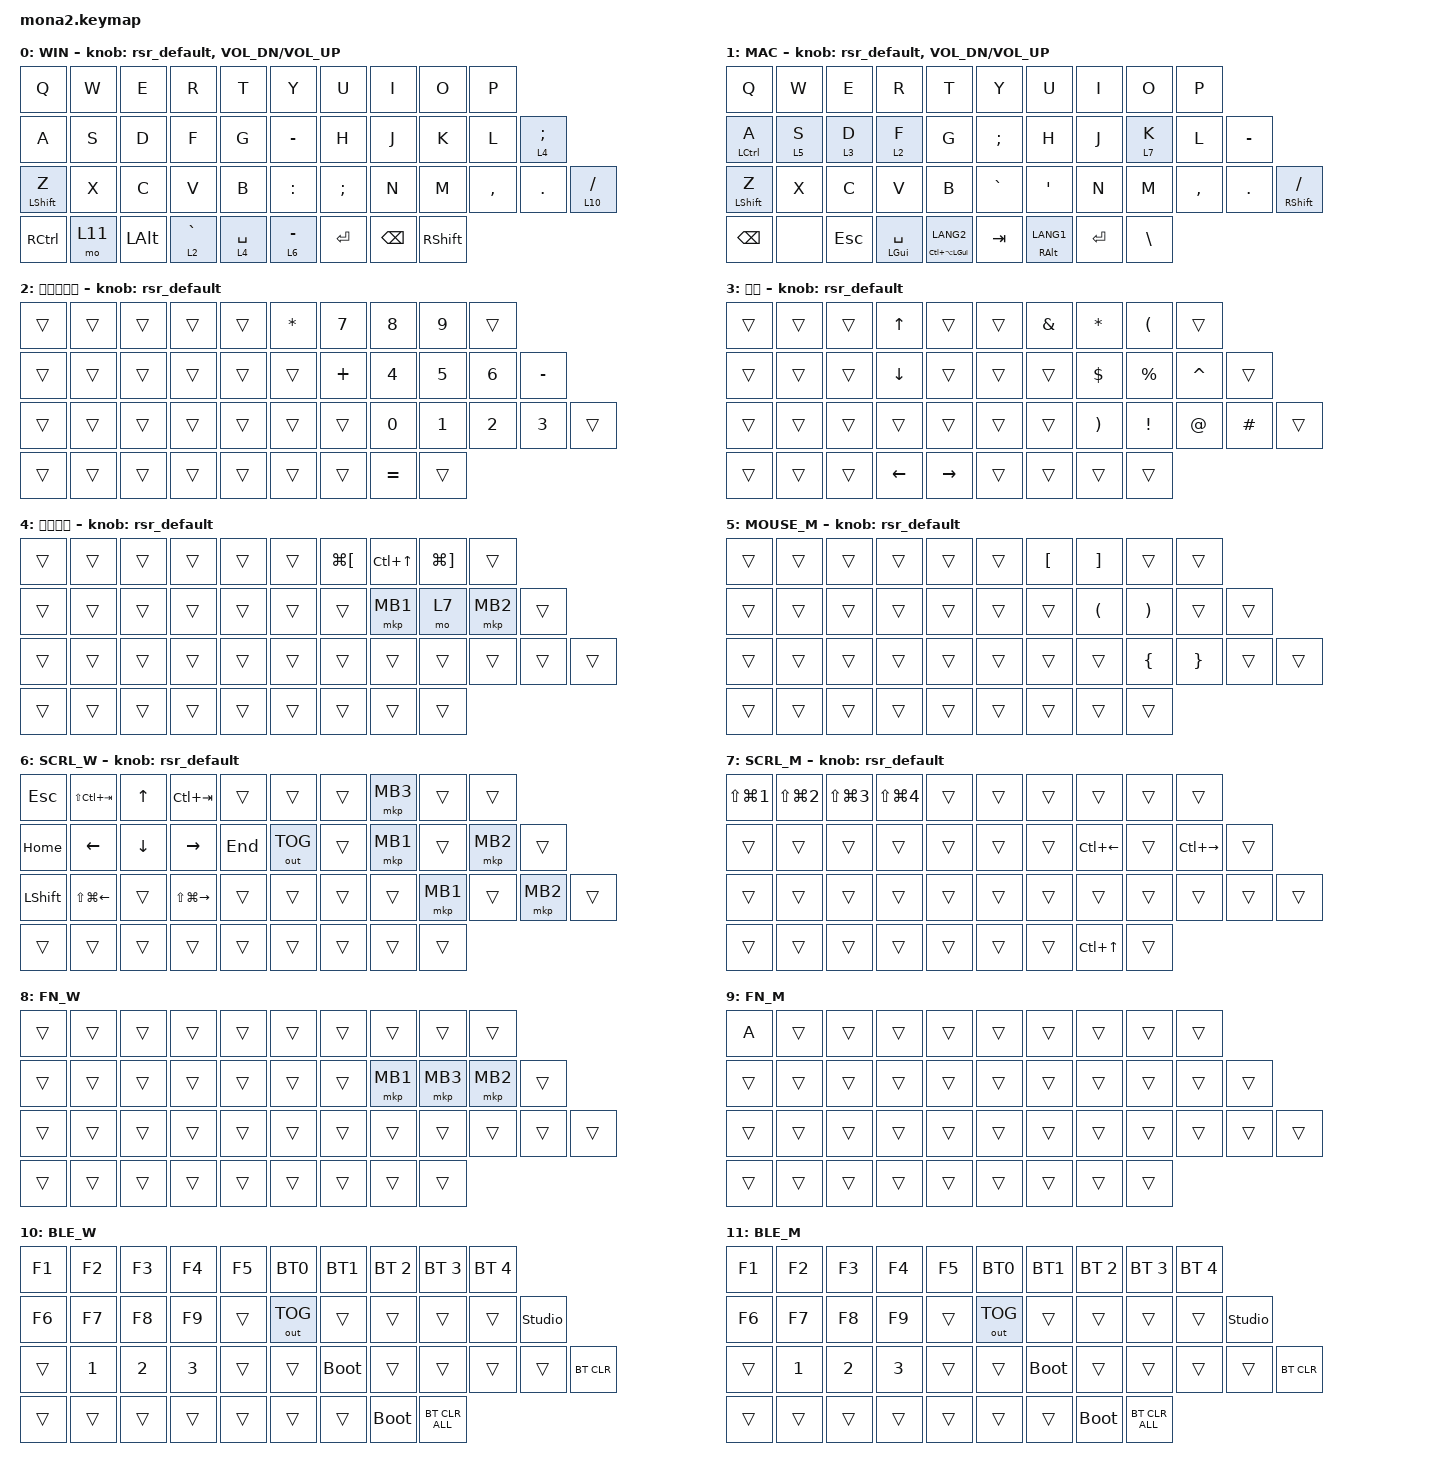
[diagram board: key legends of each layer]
#include <input/processors.dtsi>
#include <dt-bindings/zmk/input_transform.h>
#include <zephyr/dt-bindings/input/input-event-codes.h>
#include <behaviors/runtime-sensor-rotate.dtsi>
#include <behaviors.dtsi>
/* DYA Studio から作成したマクロを呼び出す `&rmacro <slot>` を定義する。
   slot は 0 〜 CONFIG_ZMK_RUNTIME_MACRO_COUNT-1 (現状 0〜7)。
   どのマクロがどのスロットに入っているかは DYA Studio のマクロ一覧で確認する。
   キーへの割り当ては DYA Studio のキーマップエディタからも行える。 */
#include <behaviors/runtime_macro.dtsi>
/* デフォルトレイヤー変更 behavior `&df`。
   DYA Studio の「OSごとのデフォルトレイヤー」から設定できるほか、
   キーマップエディタで `&df DF_SEL <layer>` / `&df DF_INC` を
   任意のキーに割り当てられる。 */
#include <behaviors/default_layer.dtsi>
#include <dt-bindings/zmk_behavior_default_layer/default_layer.h>
#include <dt-bindings/zmk/bt.h>
#include <dt-bindings/zmk/keys.h>
#include <dt-bindings/zmk/outputs.h>
#include <dt-bindings/zmk/pointing.h>

/* ZMK 側で 10 が定義済みなので警告回避のため一旦 undef */

#undef ZMK_POINTING_DEFAULT_SCRL_VAL

#define ZMK_POINTING_DEFAULT_SCRL_VAL 100


/ {
    behaviors {
        mg_set_0: behavior_mg_set_0 {
            compatible = "zmk,behavior-mg-set-fixed";
            #binding-cells = <0>;
            display-name = "Mouse Gesture Key 0";
        };

        mg_set_1: behavior_mg_set_1 {
            compatible = "zmk,behavior-mg-set-fixed";
            #binding-cells = <0>;
            display-name = "Mouse Gesture Key 1";
        };

        mg_set_2: behavior_mg_set_2 {
            compatible = "zmk,behavior-mg-set-fixed";
            #binding-cells = <0>;
            display-name = "Mouse Gesture Key 2";
        };
    };
};

&mt {
    flavor = "balanced";
    quick-tap-ms = <0>;
};

&lt {
    quick-tap-ms = <200>;
    flavor = "tap-preferred";
    tapping-term-ms = <300>;
    require-prior-idle-ms = <150>;
};

&msc {
    delay-ms = <0>;
    time-to-max-speed-ms = <0>;
    acceleration-exponent = <0>;
};

/ {
    /* ─────────────────────────────────────────────────────────────
       コンボ (DYA Studio から編集可能)

       旧 `combos { compatible = "zmk,combos"; }` はコンパイル時固定で
       DYA Studio から編集できないため、zmk-feature-runtime-combo の
       「コンパイル時デフォルト」ノードへ移行した。
       ここに書いた内容はフラッシュ直後から有効で、設定を消しても復活する。
       DYA Studio 側で編集するとそのスロットだけ上書きされ、
       Web UI の "Reset to Default" でここの値へ戻せる。

       スロット総数は CONFIG_ZMK_RUNTIME_COMBO_MAX_COMBOS (現状 16)。
       未使用スロット (2〜15) は DYA Studio から自由に追加できる。
       ────────────────────────────────────────────────────────── */
    runtime_combo_defaults {
        compatible = "cormoran,runtime-combo-defaults";

        layer4_ESC {
            slot = <0>;
            display-name = "Layer4 ESC";
            key-positions = <38 39>;
            bindings = <&lt 4 ESC>;
        };

        tab {
            slot = <1>;
            display-name = "Tab";
            key-positions = <11 12>;
            bindings = <&kp TAB>;
        };
    };

    /* 静的マクロ。キーマップ上で &BT0 / &screenshot などの名前で直接
       参照しているため、そのまま残している (DYA Studio 上では編集不可)。
       DYA Studio から編集したいマクロは Web UI で新規作成し、
       キーに `&rmacro <slot>` を割り当てて使う。 */
    macros {
        to_layer_0: to_layer_0 {
            compatible = "zmk,behavior-macro-one-param";
            #binding-cells = <1>;
            bindings = <&to 0 &macro_param_1to1 &kp MACRO_PLACEHOLDER>;
            label = "TO_LAYER_0";
        };

        BT0: BT0 {
            compatible = "zmk,behavior-macro";
            #binding-cells = <0>;
            bindings =
                <&tog_off 0 &tog_off 1>,
                <&macro_wait_time 200>,
                <&bt BT_SEL 0>,
                <&macro_wait_time 500>,
                <&tog_on 0>;

            label = "BT0";
        };

        BT1: BT1 {
            compatible = "zmk,behavior-macro";
            #binding-cells = <0>;
            bindings =
                <&tog_off 0 &tog_off 1>,
                <&macro_wait_time 200>,
                <&bt BT_SEL 1>,
                <&macro_wait_time 500>,
                <&tog_on 1>;

            label = "BT1";
        };

        screenshot: screenshot {
            compatible = "zmk,behavior-macro";
            #binding-cells = <0>;
            bindings =
                <&macro_press>,
                <&kp LEFT_GUI &kp RSHIFT>,
                <&macro_wait_time 20>,
                <&macro_tap>,
                <&kp S>,
                <&macro_release>,
                <&kp LEFT_GUI &kp RSHIFT>;

            label = "SCREENSHOT";
        };

        henkan: henkan {
            compatible = "zmk,behavior-macro";
            #binding-cells = <0>;
            bindings =
                <&macro_press>,
                <&kp LEFT_ALT>,
                <&macro_wait_time 20>,
                <&macro_tap>,
                <&kp GRAVE>,
                <&macro_release>,
                <&kp LEFT_ALT>;

            label = "HENKAN";
        };
    };

    behaviors {
        lt_to_layer_0: lt_to_layer_0 {
            compatible = "zmk,behavior-hold-tap";
            label = "LAYER_TAP_TO_0";
            bindings = <&mo>, <&to_layer_0>;

            #binding-cells = <2>;
            tapping-term-ms = <200>;
        };

        tp_repeat_mo1: tp_repeat_mo1 {
            compatible = "zmk,behavior-hold-tap";
            label = "TP_REPEAT_MO1";
            bindings = <&mo>, <&key_repeat>;

            #binding-cells = <2>;
            tapping-term-ms = <200>;
        };

        // エンコーダ用 runtime-configurable sensor rotate
        // デフォルトはスクロール (cw=SCRL_DOWN, ccw=SCRL_UP)
        // DYA Studio Web UI から レイヤーごとに cw/ccw の binding を
        // kp C_VOL_UP/DN や kp LEFT/RIGHT などへ動的変更可能

        rsr_default: rsr_default {
            compatible = "zmk,behavior-runtime-sensor-rotate";
            #sensor-binding-cells = <0>;
            tap-ms = <16>;
            cw-binding = <&msc SCRL_DOWN>;
            ccw-binding = <&msc SCRL_UP>;
        };

        tog_on: toggle_layer_on_only {
            compatible = "zmk,behavior-toggle-layer";
            #binding-cells = <1>;
            display-name = "Toggle Layer On";
            toggle-mode = "on";
        };

        tog_off: toggle_layer_off_only {
            compatible = "zmk,behavior-toggle-layer";
            #binding-cells = <1>;
            display-name = "Toggle Layer Off";
            toggle-mode = "off";
        };

        zfold: zfold {
            compatible = "zmk,behavior-hold-tap";
            label = "ZFOLD";
            bindings = <&kp>, <&kp>;

            #binding-cells = <2>;
            tapping-term-ms = <300>;
            flavor = "hold-preferred";
            quick-tap-ms = <150>;
            hold-while-undecided;
        };

        zfoldZ: zfoldZ {
            compatible = "zmk,behavior-tap-dance";
            label = "ZFOLDZ";
            #binding-cells = <0>;
            bindings = <&zfold LEFT_SHIFT Z>, <&kp LS(Z)>;
        };
    };

    keymap {
        compatible = "zmk,keymap";

        win_layer {
            display-name = "WIN";
            bindings = <
&kp Q             &kp W             &kp E             &kp R             &kp T             &kp Y             &kp U             &kp I             &kp O             &kp P
&kp A             &kp S             &kp D             &kp F             &kp G             &kp MINUS         &kp H             &kp J             &kp K             &kp L             &lt 4 SEMICOLON
&mt LEFT_SHIFT Z  &kp X             &kp C             &kp V             &kp B             &kp COLON         &kp SEMICOLON     &kp N             &kp M             &kp COMMA         &kp PERIOD        &lt 10 SLASH
&kp RIGHT_CONTROL &mo 11            &kp LEFT_ALT      &lt 2 GRAVE       &lt 4 SPACE       &lt 6 MINUS       &kp RETURN        &kp BACKSPACE     &kp RIGHT_SHIFT
            >;

            sensor-bindings = <&rsr_default>, <&inc_dec_kp C_VOL_DN C_VOL_UP>;
        };

        mac_layer {
            display-name = "MAC";
            bindings = <
&kp Q                      &kp W                      &kp E                      &kp R                      &kp T                      &kp Y                      &kp U                      &kp I                      &kp O                      &kp P
&mt LEFT_CONTROL A         &lt 5 S                    &lt 3 D                    &lt 2 F                    &kp G                      &kp SEMICOLON              &kp H                      &kp J                      &lt 7 K                    &kp L                      &kp MINUS
&mt LEFT_SHIFT Z           &kp X                      &kp C                      &kp V                      &kp B                      &kp GRAVE                  &kp SQT                    &kp N                      &kp M                      &kp COMMA                  &kp PERIOD                 &mt RIGHT_SHIFT SLASH
&kp BACKSPACE              &none                      &kp ESCAPE                 &mt LEFT_GUI SPACE         &mt LC(LA(LEFT_GUI)) LANG2 &kp TAB                    &mt RIGHT_ALT LANG1        &kp RETURN                 &kp BACKSLASH
            >;

            sensor-bindings = <&rsr_default>, <&inc_dec_kp C_VOL_DN C_VOL_UP>;
        };

        num_sym {
            display-name = "数字・記号";
            bindings = <
&trans       &trans       &trans       &trans       &trans       &kp ASTERISK &kp N7       &kp N8       &kp N9       &trans
&trans       &trans       &trans       &trans       &trans       &trans       &kp PLUS     &kp N4       &kp N5       &kp N6       &kp MINUS
&trans       &trans       &trans       &trans       &trans       &trans       &trans       &kp N0       &kp N1       &kp N2       &kp N3       &trans
&trans       &trans       &trans       &trans       &trans       &trans       &trans       &kp EQUAL    &trans
            >;

            sensor-bindings = <&rsr_default>;
        };

        sym {
            display-name = "記号";
            bindings = <
&trans                &trans                &trans                &kp UP                &trans                &trans                &kp AMPERSAND         &kp ASTERISK          &kp LEFT_PARENTHESIS  &trans
&trans                &trans                &trans                &kp DOWN              &trans                &trans                &trans                &kp DOLLAR            &kp PERCENT           &kp CARET             &trans
&trans                &trans                &trans                &trans                &trans                &trans                &trans                &kp RIGHT_PARENTHESIS &kp EXCLAMATION       &kp AT_SIGN           &kp HASH              &trans
&trans                &trans                &trans                &kp LEFT              &kp RIGHT             &trans                &trans                &trans                &trans
            >;

            sensor-bindings = <&rsr_default>;
        };

        click {
            display-name = "クリック";
            bindings = <
&trans                &trans                &trans                &trans                &trans                &trans                &kp LG(LEFT_BRACKET)  &kp LC(UP)            &kp LG(RIGHT_BRACKET) &trans
&trans                &trans                &trans                &trans                &trans                &trans                &trans                &mkp MB1              &mo 7                 &mkp MB2              &trans
&trans                &trans                &trans                &trans                &trans                &trans                &trans                &trans                &trans                &trans                &trans                &trans
&trans                &trans                &trans                &trans                &trans                &trans                &trans                &trans                &trans
            >;

            sensor-bindings = <&rsr_default>;
        };

        mouse_mac {
            display-name = "MOUSE_M";
            bindings = <
&trans                &trans                &trans                &trans                &trans                &trans                &kp LEFT_BRACKET      &kp RIGHT_BRACKET     &trans                &trans
&trans                &trans                &trans                &trans                &trans                &trans                &trans                &kp LEFT_PARENTHESIS  &kp RIGHT_PARENTHESIS &trans                &trans
&trans                &trans                &trans                &trans                &trans                &trans                &trans                &trans                &kp LEFT_BRACE        &kp RIGHT_BRACE       &trans                &trans
&trans                &trans                &trans                &trans                &trans                &trans                &trans                &trans                &trans
            >;

            sensor-bindings = <&rsr_default>;
        };

        scroll_win {
            display-name = "SCRL_W";
            bindings = <
&kp ESCAPE         &kp LS(LC(TAB))    &kp UP             &kp LC(TAB)        &trans             &trans             &trans             &mkp MB3           &trans             &trans
&kp HOME           &kp LEFT           &kp DOWN           &kp RIGHT          &kp END            &out OUT_TOG       &trans             &mkp MB1           &trans             &mkp MB2           &trans
&kp LEFT_SHIFT     &kp LS(LG(LEFT))   &trans             &kp LS(LG(RIGHT))  &trans             &trans             &trans             &trans             &mkp MB1           &trans             &mkp MB2           &trans
&trans             &trans             &trans             &trans             &trans             &trans             &trans             &trans             &trans
            >;

            sensor-bindings = <&rsr_default>;
        };

        scroll_mac {
            display-name = "SCRL_M";
            bindings = <
&kp LS(LG(N1))  &kp LS(LG(N2))  &kp LS(LG(N3))  &kp LS(LG(N4))  &trans          &trans          &trans          &trans          &trans          &trans
&trans          &trans          &trans          &trans          &trans          &trans          &trans          &kp LC(LEFT)    &trans          &kp LC(RIGHT)   &trans
&trans          &trans          &trans          &trans          &trans          &trans          &trans          &trans          &trans          &trans          &trans          &trans
&trans          &trans          &trans          &trans          &trans          &trans          &trans          &kp LC(UP)      &trans
            >;

            sensor-bindings = <&rsr_default>;
        };

        function_win {
            display-name = "FN_W";
            bindings = <
&trans    &trans    &trans    &trans    &trans    &trans    &trans    &trans    &trans    &trans
&trans    &trans    &trans    &trans    &trans    &trans    &trans    &mkp MB1  &mkp MB3  &mkp MB2  &trans
&trans    &trans    &trans    &trans    &trans    &trans    &trans    &trans    &trans    &trans    &trans    &trans
&trans    &trans    &trans    &trans    &trans    &trans    &trans    &trans    &trans
            >;
        };

        function_mac {
            display-name = "FN_M";
            bindings = <
&kp A   &trans  &trans  &trans  &trans  &trans  &trans  &trans  &trans  &trans
&trans  &trans  &trans  &trans  &trans  &trans  &trans  &trans  &trans  &trans  &trans
&trans  &trans  &trans  &trans  &trans  &trans  &trans  &trans  &trans  &trans  &trans  &trans
&trans  &trans  &trans  &trans  &trans  &trans  &trans  &trans  &trans
            >;
        };

        ble_win {
            display-name = "BLE_W";
            bindings = <
&kp F1          &kp F2          &kp F3          &kp F4          &kp F5          &BT0            &BT1            &bt BT_SEL 2    &bt BT_SEL 3    &bt BT_SEL 4
&kp F6          &kp F7          &kp F8          &kp F9          &trans          &out OUT_TOG    &trans          &trans          &trans          &trans          &studio_unlock
&trans          &kp N1          &kp N2          &kp N3          &trans          &trans          &bootloader     &trans          &trans          &trans          &trans          &bt BT_CLR
&trans          &trans          &trans          &trans          &trans          &trans          &trans          &bootloader     &bt BT_CLR_ALL
            >;
        };

        ble_mac {
            display-name = "BLE_M";
            bindings = <
&kp F1          &kp F2          &kp F3          &kp F4          &kp F5          &BT0            &BT1            &bt BT_SEL 2    &bt BT_SEL 3    &bt BT_SEL 4
&kp F6          &kp F7          &kp F8          &kp F9          &trans          &out OUT_TOG    &trans          &trans          &trans          &trans          &studio_unlock
&trans          &kp N1          &kp N2          &kp N3          &trans          &trans          &bootloader     &trans          &trans          &trans          &trans          &bt BT_CLR
&trans          &trans          &trans          &trans          &trans          &trans          &trans          &bootloader     &bt BT_CLR_ALL
            >;
        };
    };
};
